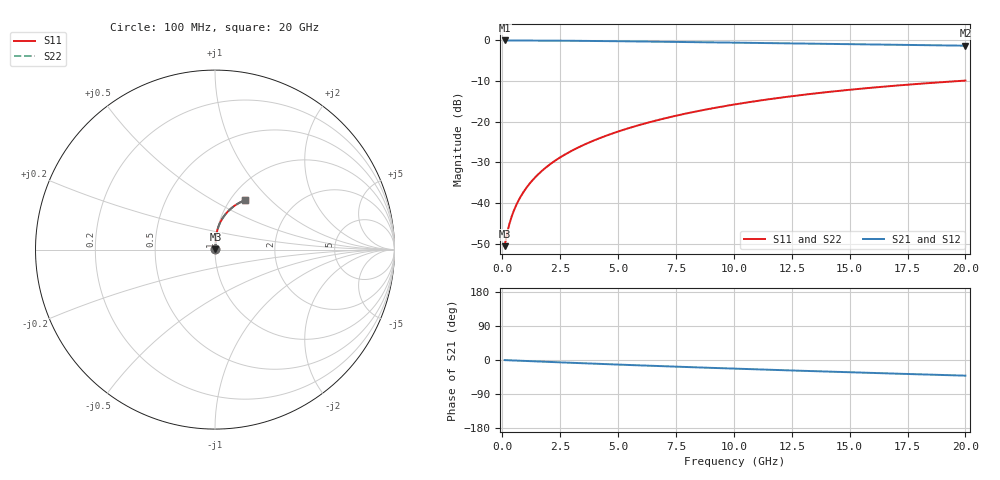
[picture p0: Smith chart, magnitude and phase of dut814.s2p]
! Touchstone file exported from HFSS 2024.1.0
!  File:  C:/UserFiles/LocalFiles/RDL_TSV_Batchsim/temp_RDL_bottom_814_1779862467.aedt
!  Generated:  02:16:47 PM May 27, 2026
!  Design:  RDL_bottom
!  Project:  temp_RDL_bottom_814_1779862467
!  Setup:  Setup1
!  Solution:  Sweep
! Variables:
!  dtsv = 10.80580581um
!  hbump = 3um
!  htsv = 99.07um
!  ldown = 624.18um
!  lrdl = 100um
!  p = 40
!  p1 = 46.22um
!  rhole = 1um
!  t = 450um
!  tdown = 4.14um
!  trdl = 3.915915916um
!  wdown = 23.89um
!  wrdl = 20um
# GHz S MA R 50.000000
! Terminal data exported
! Port[1] = RDL1_T1
! Port[2] = RDL1_T2
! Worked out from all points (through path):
!   200 points, 100 MHz to 20 GHz, reference 50 ohm
!   highest |S21| = -0.02 dB at 100 MHz (marker M1); lowest = -1.3 dB at 20 GHz (marker M2)
!   group delay of S21, straight-line fit = 5.68 ps
!   lowest |S11| = -50.6 dB at 100 MHz (marker M3), VSWR 1.01, Z = 50.2 + j0.168 ohm
!   |S11| at or under -10 dB: start of sweep to 19.69 GHz
!   |S22| runs from -50.6 to -9.9 dB; largest |S21 - S12| = 2.6e-15
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0.1  0.002958 34.3  0.9975 -0.3  0.9975 -0.3  0.002958 34.3
! Gamma 0 0 0 0
! Port Impedance 50 0 50 0
0.2  0.004156 51.1  0.9973 -0.5  0.9973 -0.5  0.004156 51.1
0.3  0.005462 59.5  0.9971 -0.8  0.9971 -0.8  0.005462 59.5
0.4  0.006775 64.7  0.9969 -1.0  0.9969 -1.0  0.006775 64.7
0.5  0.008091 68.3  0.9968 -1.3  0.9968 -1.3  0.008091 68.3
0.6  0.009419 71.1  0.9966 -1.5  0.9966 -1.5  0.009418 71.1
0.8  0.01211 75.0  0.9962 -2.0  0.9962 -2.0  0.01211 75.0
1.1  0.01625 78.6  0.9956 -2.8  0.9956 -2.8  0.01625 78.6
1.3  0.01905 80.2  0.9952 -3.3  0.9952 -3.3  0.01905 80.2
1.6  0.02332 81.9  0.9943 -4.0  0.9943 -4.0  0.02332 81.9
2.1  0.03056 83.7  0.9926 -5.2  0.9926 -5.2  0.03056 83.7
2.7  0.03946 84.8  0.99 -6.7  0.99 -6.7  0.03947 84.8
3.5  0.05171 85.4  0.9858 -8.6  0.9858 -8.6  0.05171 85.4
4.2  0.06277 85.5  0.9816 -10.3  0.9816 -10.3  0.06277 85.5
5  0.07579 85.2  0.9762 -12.1  0.9762 -12.1  0.0758 85.2
6.8  0.1063 83.4  0.963 -16.1  0.963 -16.1  0.1063 83.4
8.4  0.1343 81.1  0.9505 -19.5  0.9505 -19.5  0.1344 81.1
10.1  0.1643 78.1  0.937 -22.9  0.937 -22.9  0.1644 78.1
11.7  0.1922 75.0  0.9243 -26.1  0.9243 -26.1  0.1923 75.0
13.4  0.221 71.7  0.9109 -29.4  0.9109 -29.4  0.2211 71.7
16.7  0.2734 65.2  0.8853 -35.5  0.8853 -35.5  0.2735 65.2
20  0.3203 58.9  0.8603 -41.3  0.8603 -41.3  0.3204 58.9
